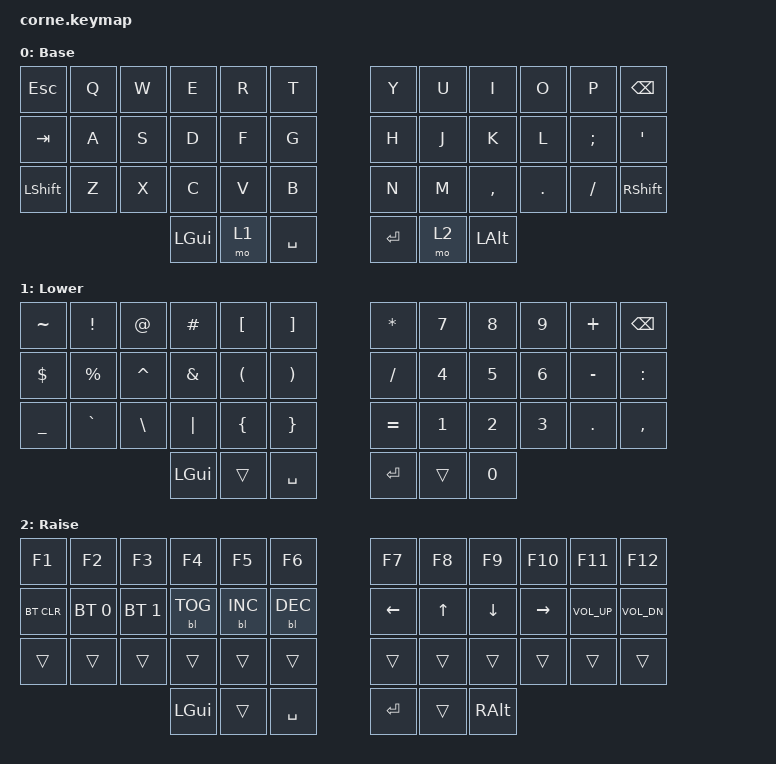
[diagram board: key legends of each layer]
/*
 * Copyright (c) 2020 The ZMK Contributors
 *
 * SPDX-License-Identifier: MIT
 */

#include <behaviors.dtsi>
#include <dt-bindings/zmk/backlight.h>
#include <dt-bindings/zmk/bt.h>
#include <dt-bindings/zmk/keys.h>

/ {
    keymap {
        compatible = "zmk,keymap";

        default_layer {
            // -----------------------------------------------------------------------------------------
            // |  TAB |  Q  |  W  |  E  |  R  |  T  |   |  Y  |  U   |  I  |  O  |  P  | BKSP |
            // | CTRL |  A  |  S  |  D  |  F  |  G  |   |  H  |  J   |  K  |  L  |  ;  |  '   |
            // | SHFT |  Z  |  X  |  C  |  V  |  B  |   |  N  |  M   |  ,  |  .  |  /  | ESC  |
            //                    | GUI | LWR | SPC |   | ENT | RSE  | ALT |

            display-name = "Base";
            bindings = <
&kp ESCAPE  &kp Q  &kp W  &kp E     &kp R  &kp T        &kp Y    &kp U  &kp I      &kp O    &kp P     &kp BSPC
&kp TAB     &kp A  &kp S  &kp D     &kp F  &kp G        &kp H    &kp J  &kp K      &kp L    &kp SEMI  &kp SQT
&kp LSHFT   &kp Z  &kp X  &kp C     &kp V  &kp B        &kp N    &kp M  &kp COMMA  &kp DOT  &kp FSLH  &kp RIGHT_SHIFT
                          &kp LGUI  &mo 1  &kp SPACE    &kp RET  &mo 2  &kp LALT
            >;
        };

        lower_layer {
            // -----------------------------------------------------------------------------------------
            // |  TAB |  1  |  2  |  3  |  4  |  5  |   |  6  |  7  |  8  |  9  |  0  | BKSP |
            // | BTCLR| BT1 | BT2 | BT3 | BT4 | BT5 |   | LFT | DWN |  UP | RGT |     |      |
            // | SHFT |     |     |     |     |     |   |     |     |     |     |     |      |
            //                    | GUI |     | SPC |   | ENT |     | ALT |

            display-name = "Lower";
            bindings = <
&kp TILDE       &kp EXCLAMATION  &kp AT_SIGN    &kp HASH       &kp LEFT_BRACKET      &kp RIGHT_BRACKET        &kp ASTERISK  &kp N7        &kp N8        &kp N9        &kp PLUS    &kp BSPC
&kp DOLLAR      &kp PERCENT      &kp CARET      &kp AMPERSAND  &kp LEFT_PARENTHESIS  &kp RIGHT_PARENTHESIS    &kp SLASH     &kp NUMBER_4  &kp NUMBER_5  &kp NUMBER_6  &kp MINUS   &kp COLON
&kp UNDERSCORE  &kp GRAVE        &kp BACKSLASH  &kp PIPE       &kp LEFT_BRACE        &kp RIGHT_BRACE          &kp EQUAL     &kp NUMBER_1  &kp NUMBER_2  &kp NUMBER_3  &kp PERIOD  &kp COMMA
                                                &kp LGUI       &trans                &kp SPACE                &kp RET       &trans        &kp NUMBER_0
            >;
        };

        raise_layer {
            // -----------------------------------------------------------------------------------------
            // |  TAB |  !  |  @  |  #  |  $  |  %  |   |  ^  |  &  |  *  |  (  |  )  | BKSP |
            // | CTRL |     |     |     |     |     |   |  -  |  =  |  [  |  ]  |  \  |  `   |
            // | SHFT |     |     |     |     |     |   |  _  |  +  |  {  |  }  | "|" |  ~   |
            //                    | GUI |     | SPC |   | ENT |     | ALT |

            display-name = "Raise";
            bindings = <
&kp F1      &kp F2        &kp F3        &kp F4      &kp F5      &kp F6        &kp F7          &kp F8        &kp F9          &kp F10          &kp F11          &kp F12
&bt BT_CLR  &bt BT_SEL 0  &bt BT_SEL 1  &bl BL_TOG  &bl BL_INC  &bl BL_DEC    &kp LEFT_ARROW  &kp UP_ARROW  &kp DOWN_ARROW  &kp RIGHT_ARROW  &kp C_VOLUME_UP  &kp C_VOL_DN
&trans      &trans        &trans        &trans      &trans      &trans        &trans          &trans        &trans          &trans           &trans           &trans
                                        &kp LGUI    &trans      &kp SPACE     &kp RET         &trans        &kp RALT
            >;
        };
    };
};
